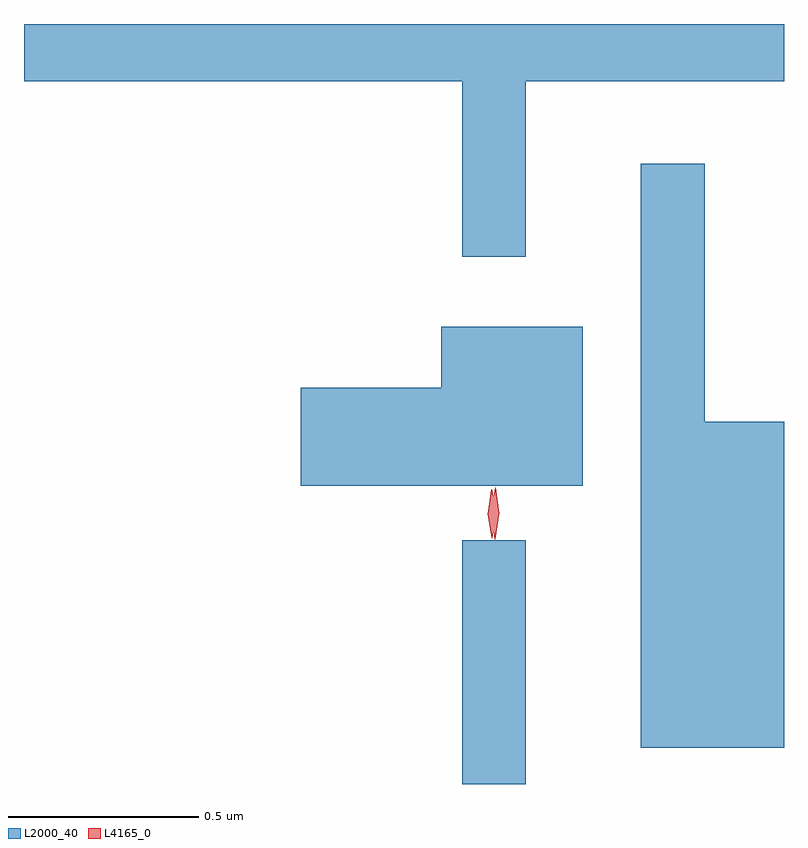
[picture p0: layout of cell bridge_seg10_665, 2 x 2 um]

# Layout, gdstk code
import gdstk
lib = gdstk.Library(unit=1e-6, precision=1e-09)
def R(c, l, rs):  # rectangles x0, y0, x1, y1
    for r in rs: c.add(gdstk.rectangle(r[:2], r[2:], *l))
def P(c, l, *ps):  # polygons
    for p in ps: c.add(gdstk.Polygon(p, *l))
L2000_40 = (2000, 40)
L4165_0 = (4165, 0)

bridge_seg10_665 = lib.new_cell('bridge_seg10_665')
R(bridge_seg10_665, L2000_40, [(638.631,2105.406,638.799,2106.048)])
P(bridge_seg10_665, L2000_40, [(638.799,2107.256),(639.478,2107.256),(639.478,2107.406),(637.478,2107.406),(637.478,2107.256),(638.631,2107.256),(638.631,2106.793),(638.799,2106.793)],
  [(639.478,2106.359),(639.269,2106.359),(639.269,2107.038),(639.101,2107.038),(639.101,2105.501),(639.478,2105.501)],
  [(638.949,2106.609),(638.576,2106.609),(638.576,2106.449),(638.206,2106.449),(638.206,2106.191),(638.949,2106.191)])
P(bridge_seg10_665, L4165_0, [(638.717,2106.05),(638.717,2106.05),(638.708,2106.118),(638.718,2106.186),(638.719,2106.186),(638.72,2106.186),(638.728,2106.118),(638.718,2106.05)],
  [(638.709,2106.053),(638.699,2106.116),(638.708,2106.18),(638.709,2106.18),(638.71,2106.18),(638.719,2106.116),(638.71,2106.053),(638.71,2106.053)])

lib.write_gds('bridge_seg10_665.gds')
